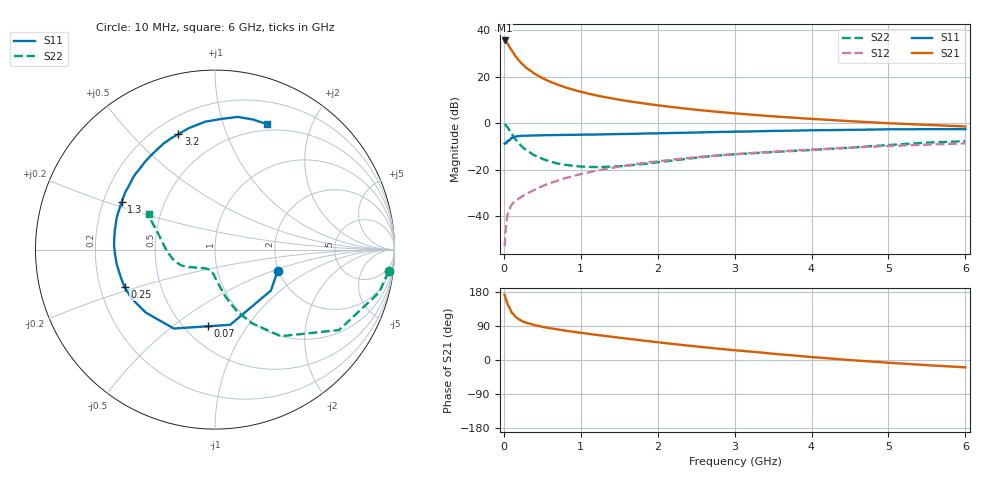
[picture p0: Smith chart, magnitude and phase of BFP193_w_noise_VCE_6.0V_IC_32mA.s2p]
! (c) 2017  Infineon Technologies AG, Munich
! Infineon Technologies  Discrete & RF Semiconductors
! BFP193
! VCE =  6.0 V,  IC =  32 mA
! Common Emitter S-Parameters:  Jan 2017
# GHz  S  MA  R  50
!  f  S11  S21  S12  S22
! GHz  MAG  ANG  MAG  ANG  MAG  ANG  MAG  ANG
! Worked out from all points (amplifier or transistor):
!   77 points, 10 MHz to 6 GHz, reference 50 ohm
!   highest |S21| = 35.7 dB at 10 MHz (marker M1)
!   |S21| within 3 dB of that: start of sweep to 77.88 MHz
!   unconditionally stable (mu >= 1): 697 MHz to 2.443 GHz
!   at 130 MHz: K = 0.49, MSG = 32.0 dB, |S12| = -34.0 dB
!   at 2.2 GHz: K = 1.01, MAG = 10.6 dB, |S12| = -15.5 dB
!   at 6 GHz: K = 0.92, MSG = 3.6 dB, |S12| = -8.6 dB
!   lowest NFmin = 1.24 dB at 450 MHz
!   S11 on the Smith chart (normalised r, x): 10 MHz: 1.98, -0.54; 70 MHz: 0.64, -0.68; 250 MHz: 0.30, -0.18; 1.3 GHz: 0.28, +0.22; 3.2 GHz: 0.29, +0.69; 6 GHz: 0.43, +1.40
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0.01  0.3689 -18.5  61.03 172.1  0.0023 78.1  0.9746 -7.1
0.02  0.386 -36.2  60.46 165.0  0.0042 81.1  0.9463 -14.5
0.05  0.4275 -78.5  51.62 146.1  0.0116 66.2  0.8234 -33.0
0.07  0.4292 -95.4  45.44 139.5  0.014 62.3  0.7266 -39.5
0.1  0.4959 -117.5  37.75 125.8  0.0177 58.5  0.6057 -52.8
0.15  0.5211 -137.6  28.2 114.2  0.0216 56.2  0.457 -63.6
0.2  0.5379 -149.2  22.22 106.8  0.0246 56.2  0.3655 -70.3
0.25  0.5455 -157.4  18.22 101.5  0.0279 57.0  0.3038 -74.5
0.3  0.5468 -163.1  15.36 97.8  0.0308 59.3  0.26 -78.0
0.4  0.5532 -171.3  11.75 91.9  0.0376 61.6  0.2057 -82.8
0.5  0.5583 -177.8  9.461 87.6  0.0449 62.7  0.1738 -86.8
0.6  0.5631 177.4  7.941 83.8  0.0524 63.7  0.1525 -90.4
0.7  0.5649 173.3  6.82 80.7  0.0588 64.5  0.1374 -93.4
0.9  0.5703 165.9  5.322 74.5  0.0738 64.8  0.1234 -100.3
1.1  0.5774 159.2  4.387 69.2  0.0889 63.9  0.1166 -106.5
1.3  0.5836 153.2  3.725 63.9  0.1032 62.3  0.1167 -113.7
2.1  0.6193 131.2  2.349 44.6  0.1604 54.1  0.153 -139.6
3.1  0.6706 109.5  1.604 24.1  0.224 42.1  0.2228 -160.9
3.2  0.675 107.6  1.556 22.3  0.2297 41.0  0.2277 -162.9
4.1  0.7166 92.9  1.228 6.2  0.2805 30.7  0.2758 178.6
5.1  0.7502 79.0  0.997 -8.5  0.3323 19.4  0.3525 160.3
6  0.7565 67.7  0.863 -19.5  0.3735 9.4  0.4159 151.4
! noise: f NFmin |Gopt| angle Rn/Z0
0.45  1.24  0.35  -173  0.08
0.9  1.3  0.39  -171  0.07
1.9  1.92  0.58  -136  0.17
2.4  2.25  0.62  -121  0.38
